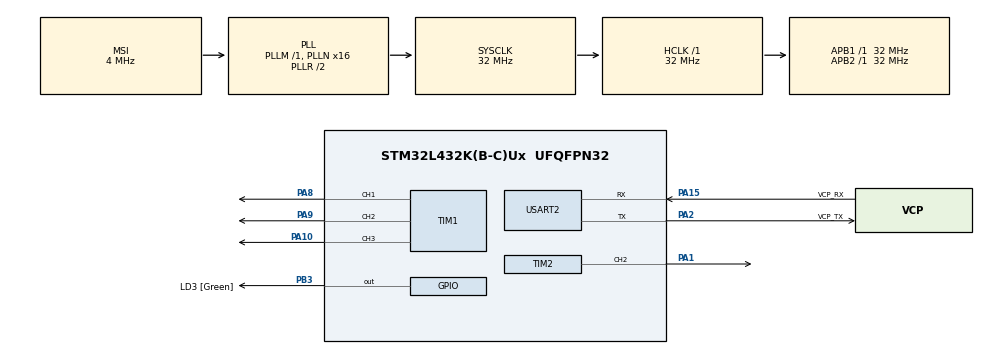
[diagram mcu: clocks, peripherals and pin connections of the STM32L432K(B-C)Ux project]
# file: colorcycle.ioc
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Mcu.Family=STM32L4
Mcu.Name=STM32L432K(B-C)Ux
Mcu.Package=UFQFPN32
NVIC.PriorityGroup=NVIC_PRIORITYGROUP_4
PA0.GPIO_Label=MCO [High speed clock in]
PA0.Mode=HSE-External-Clock-Source-for-LittleOrca
PA0.Signal=RCC_CK_IN
PA1.Signal=S_TIM2_CH2
PA10.Signal=S_TIM1_CH3
PA13\ (JTMS-SWDIO).GPIO_Label=SWDIO
PA13\ (JTMS-SWDIO).Mode=Serial_Wire
PA13\ (JTMS-SWDIO).Signal=SYS_JTMS-SWDIO
PA14\ (JTCK-SWCLK).GPIO_Label=SWCLK
PA14\ (JTCK-SWCLK).Mode=Serial_Wire
PA14\ (JTCK-SWCLK).Signal=SYS_JTCK-SWCLK
PA15\ (JTDI).GPIO_Label=VCP_RX
PA15\ (JTDI).Mode=Asynchronous
PA15\ (JTDI).Signal=USART2_RX
PA2.GPIO_Label=VCP_TX
PA2.Mode=Asynchronous
PA2.Signal=USART2_TX
PA8.Signal=S_TIM1_CH1
PA9.Signal=S_TIM1_CH2
PB3\ (JTDO-TRACESWO).GPIO_Label=LD3 [Green]
PB3\ (JTDO-TRACESWO).Signal=GPIO_Output
PC14-OSC32_IN\ (PC14).Mode=LSE-External-Oscillator
PC14-OSC32_IN\ (PC14).Signal=RCC_OSC32_IN
PC15-OSC32_OUT\ (PC15).Mode=LSE-External-Oscillator
PC15-OSC32_OUT\ (PC15).Signal=RCC_OSC32_OUT
ProjectManager.HeapSize=0x200
ProjectManager.StackSize=0x400
ProjectManager.TargetToolchain=Makefile
RCC.AHBFreq_Value=32000000
RCC.APB1Freq_Value=32000000
RCC.APB1TimFreq_Value=32000000
RCC.APB2Freq_Value=32000000
RCC.APB2TimFreq_Value=32000000
RCC.CortexFreq_Value=32000000
RCC.HCLKFreq_Value=32000000
RCC.HSE_VALUE=8000000
RCC.HSI16_VALUE=16000000
RCC.HSI48_VALUE=48000000
RCC.HSI_VALUE=16000000
RCC.MSI_VALUE=4000000
RCC.PLLMUL=RCC_PLLMUL_4
RCC.PLLN=16
RCC.SYSCLKFreq_VALUE=32000000
RCC.SYSCLKSource=RCC_SYSCLKSOURCE_PLLCLK
RCC.VCOOutputFreq_Value=64000000
SH.S_TIM1_CH1.0=TIM1_CH1,PWM Generation1 CH1
SH.S_TIM1_CH2.0=TIM1_CH2,PWM Generation2 CH2
SH.S_TIM1_CH3.0=TIM1_CH3,PWM Generation3 CH3
SH.S_TIM2_CH2.0=TIM2_CH2,PWM Generation2 CH2
TIM1.Channel-PWM\ Generation1\ CH1=TIM_CHANNEL_1
TIM1.Channel-PWM\ Generation2\ CH2=TIM_CHANNEL_2
TIM1.Channel-PWM\ Generation3\ CH3=TIM_CHANNEL_3
TIM1.Pulse-PWM\ Generation1\ CH1=65535
TIM1.Pulse-PWM\ Generation2\ CH2=65535
TIM1.Pulse-PWM\ Generation3\ CH3=65535
TIM2.Channel-PWM\ Generation2\ CH2=TIM_CHANNEL_2
USART2.VirtualMode-Asynchronous=VM_ASYNC
board=NUCLEO-L432KC

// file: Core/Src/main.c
/* USER CODE BEGIN Header */
/**
  ******************************************************************************
  * @file           : main.c
  * @brief          : Main program body
  ******************************************************************************
  * @attention
  *
  * Copyright (c) 2022 STMicroelectronics.
  * All rights reserved.
  *
  * This software is licensed under terms that can be found in the LICENSE file
  * in the root directory of this software component.
  * If no LICENSE file comes with this software, it is provided AS-IS.
  *
  ******************************************************************************
  */
/* USER CODE END Header */
#include "main.h"

TIM_HandleTypeDef htim1;
TIM_HandleTypeDef htim2;

UART_HandleTypeDef huart2;

void SystemClock_Config(void);
static void MX_GPIO_Init(void);
static void MX_USART2_UART_Init(void);
static void MX_TIM2_Init(void);
static void MX_TIM1_Init(void);

/* USER CODE BEGIN 0 */
void set_color(int red, int green, int blue)
{

  htim1.Instance->CCR1 = red * 255;
  htim1.Instance->CCR2 = green * 255;
  htim1.Instance->CCR3 = blue * 255;

}
/* USER CODE END 0 */

int main(void)
{

  /* MCU Configuration--------------------------------------------------------*/

  /* Reset of all peripherals, Initializes the Flash interface and the Systick. */
  HAL_Init();

  /* Configure the system clock */
  SystemClock_Config();

  /* Initialize all configured peripherals */
  MX_GPIO_Init();
  MX_USART2_UART_Init();
  MX_TIM2_Init();
  MX_TIM1_Init();
  /* USER CODE BEGIN 2 */
  HAL_TIM_PWM_Start (&htim1, TIM_CHANNEL_1);
  HAL_TIM_PWM_Start (&htim1, TIM_CHANNEL_2);
  HAL_TIM_PWM_Start (&htim1, TIM_CHANNEL_3);
  /* USER CODE END 2 */

  /* Infinite loop */
  /* USER CODE BEGIN WHILE */
  while (1)
  {
    set_color (255,0,0);   // red
    HAL_Delay (2000);

    set_color (0,255,0);   // green
    HAL_Delay (2000);

    set_color (0,0,255);  // blue
    HAL_Delay (2000);

    set_color (255,0,255);   // magenta
    HAL_Delay (2000);

    set_color (255,255,0);   // yellow
    HAL_Delay (2000);

    set_color (0,255,255);   // cyan
    HAL_Delay (2000);

    set_color (255,127,0);   // orange
    HAL_Delay (2000);

    set_color (127,255,0);   // chartreuse
    HAL_Delay (2000);

    set_color (0,255,127);   // spring green
    HAL_Delay (2000);

    set_color (0,127,255);   // azure
    HAL_Delay (2000);

    set_color (127,0,255);   // violet
    HAL_Delay (2000);

    set_color (255,0,127);   // rose
    HAL_Delay (2000);

    /* USER CODE END WHILE */

  }
}

void SystemClock_Config(void)
{
  RCC_OscInitTypeDef RCC_OscInitStruct = {0};
  RCC_ClkInitTypeDef RCC_ClkInitStruct = {0};

  /** Configure the main internal regulator output voltage
  */
  if (HAL_PWREx_ControlVoltageScaling(PWR_REGULATOR_VOLTAGE_SCALE1) != HAL_OK)
  {
    Error_Handler();
  }

  /** Configure LSE Drive Capability
  */
  HAL_PWR_EnableBkUpAccess();
  __HAL_RCC_LSEDRIVE_CONFIG(RCC_LSEDRIVE_LOW);

  /** Initializes the RCC Oscillators according to the specified parameters
  * in the RCC_OscInitTypeDef structure.
  */
  RCC_OscInitStruct.OscillatorType = RCC_OSCILLATORTYPE_LSE|RCC_OSCILLATORTYPE_MSI;
  RCC_OscInitStruct.LSEState = RCC_LSE_ON;
  RCC_OscInitStruct.MSIState = RCC_MSI_ON;
  RCC_OscInitStruct.MSICalibrationValue = 0;
  RCC_OscInitStruct.MSIClockRange = RCC_MSIRANGE_6;
  RCC_OscInitStruct.PLL.PLLState = RCC_PLL_ON;
  RCC_OscInitStruct.PLL.PLLSource = RCC_PLLSOURCE_MSI;
  RCC_OscInitStruct.PLL.PLLM = 1;
  RCC_OscInitStruct.PLL.PLLN = 16;
  RCC_OscInitStruct.PLL.PLLP = RCC_PLLP_DIV7;
  RCC_OscInitStruct.PLL.PLLQ = RCC_PLLQ_DIV2;
  RCC_OscInitStruct.PLL.PLLR = RCC_PLLR_DIV2;
  if (HAL_RCC_OscConfig(&RCC_OscInitStruct) != HAL_OK)
  {
    Error_Handler();
  }

  /** Initializes the CPU, AHB and APB buses clocks
  */
  RCC_ClkInitStruct.ClockType = RCC_CLOCKTYPE_HCLK|RCC_CLOCKTYPE_SYSCLK
                              |RCC_CLOCKTYPE_PCLK1|RCC_CLOCKTYPE_PCLK2;
  RCC_ClkInitStruct.SYSCLKSource = RCC_SYSCLKSOURCE_PLLCLK;
  RCC_ClkInitStruct.AHBCLKDivider = RCC_SYSCLK_DIV1;
  RCC_ClkInitStruct.APB1CLKDivider = RCC_HCLK_DIV1;
  RCC_ClkInitStruct.APB2CLKDivider = RCC_HCLK_DIV1;

  if (HAL_RCC_ClockConfig(&RCC_ClkInitStruct, FLASH_LATENCY_1) != HAL_OK)
  {
    Error_Handler();
  }

  /** Enable MSI Auto calibration
  */
  HAL_RCCEx_EnableMSIPLLMode();
}

static void MX_TIM1_Init(void)
{

  TIM_MasterConfigTypeDef sMasterConfig = {0};
  TIM_OC_InitTypeDef sConfigOC = {0};
  TIM_BreakDeadTimeConfigTypeDef sBreakDeadTimeConfig = {0};

  htim1.Instance = TIM1;
  htim1.Init.Prescaler = 0;
  htim1.Init.CounterMode = TIM_COUNTERMODE_UP;
  htim1.Init.Period = 65535;
  htim1.Init.ClockDivision = TIM_CLOCKDIVISION_DIV1;
  htim1.Init.RepetitionCounter = 0;
  htim1.Init.AutoReloadPreload = TIM_AUTORELOAD_PRELOAD_DISABLE;
  if (HAL_TIM_PWM_Init(&htim1) != HAL_OK)
  {
    Error_Handler();
  }
  sMasterConfig.MasterOutputTrigger = TIM_TRGO_RESET;
  sMasterConfig.MasterOutputTrigger2 = TIM_TRGO2_RESET;
  sMasterConfig.MasterSlaveMode = TIM_MASTERSLAVEMODE_DISABLE;
  if (HAL_TIMEx_MasterConfigSynchronization(&htim1, &sMasterConfig) != HAL_OK)
  {
    Error_Handler();
  }
  sConfigOC.OCMode = TIM_OCMODE_PWM1;
  sConfigOC.Pulse = 65535;
  sConfigOC.OCPolarity = TIM_OCPOLARITY_HIGH;
  sConfigOC.OCNPolarity = TIM_OCNPOLARITY_HIGH;
  sConfigOC.OCFastMode = TIM_OCFAST_DISABLE;
  sConfigOC.OCIdleState = TIM_OCIDLESTATE_RESET;
  sConfigOC.OCNIdleState = TIM_OCNIDLESTATE_RESET;
  if (HAL_TIM_PWM_ConfigChannel(&htim1, &sConfigOC, TIM_CHANNEL_1) != HAL_OK)
  {
    Error_Handler();
  }
  if (HAL_TIM_PWM_ConfigChannel(&htim1, &sConfigOC, TIM_CHANNEL_2) != HAL_OK)
  {
    Error_Handler();
  }
  if (HAL_TIM_PWM_ConfigChannel(&htim1, &sConfigOC, TIM_CHANNEL_3) != HAL_OK)
  {
    Error_Handler();
  }
  sBreakDeadTimeConfig.OffStateRunMode = TIM_OSSR_DISABLE;
  sBreakDeadTimeConfig.OffStateIDLEMode = TIM_OSSI_DISABLE;
  sBreakDeadTimeConfig.LockLevel = TIM_LOCKLEVEL_OFF;
  sBreakDeadTimeConfig.DeadTime = 0;
  sBreakDeadTimeConfig.BreakState = TIM_BREAK_DISABLE;
  sBreakDeadTimeConfig.BreakPolarity = TIM_BREAKPOLARITY_HIGH;
  sBreakDeadTimeConfig.BreakFilter = 0;
  sBreakDeadTimeConfig.Break2State = TIM_BREAK2_DISABLE;
  sBreakDeadTimeConfig.Break2Polarity = TIM_BREAK2POLARITY_HIGH;
  sBreakDeadTimeConfig.Break2Filter = 0;
  sBreakDeadTimeConfig.AutomaticOutput = TIM_AUTOMATICOUTPUT_DISABLE;
  if (HAL_TIMEx_ConfigBreakDeadTime(&htim1, &sBreakDeadTimeConfig) != HAL_OK)
  {
    Error_Handler();
  }
  HAL_TIM_MspPostInit(&htim1);

}

static void MX_TIM2_Init(void)
{

  TIM_MasterConfigTypeDef sMasterConfig = {0};
  TIM_OC_InitTypeDef sConfigOC = {0};

  htim2.Instance = TIM2;
  htim2.Init.Prescaler = 0;
  htim2.Init.CounterMode = TIM_COUNTERMODE_UP;
  htim2.Init.Period = 4294967295;
  htim2.Init.ClockDivision = TIM_CLOCKDIVISION_DIV1;
  htim2.Init.AutoReloadPreload = TIM_AUTORELOAD_PRELOAD_DISABLE;
  if (HAL_TIM_PWM_Init(&htim2) != HAL_OK)
  {
    Error_Handler();
  }
  sMasterConfig.MasterOutputTrigger = TIM_TRGO_RESET;
  sMasterConfig.MasterSlaveMode = TIM_MASTERSLAVEMODE_DISABLE;
  if (HAL_TIMEx_MasterConfigSynchronization(&htim2, &sMasterConfig) != HAL_OK)
  {
    Error_Handler();
  }
  sConfigOC.OCMode = TIM_OCMODE_PWM1;
  sConfigOC.Pulse = 0;
  sConfigOC.OCPolarity = TIM_OCPOLARITY_HIGH;
  sConfigOC.OCFastMode = TIM_OCFAST_DISABLE;
  if (HAL_TIM_PWM_ConfigChannel(&htim2, &sConfigOC, TIM_CHANNEL_2) != HAL_OK)
  {
    Error_Handler();
  }
  HAL_TIM_MspPostInit(&htim2);

}

static void MX_USART2_UART_Init(void)
{

  huart2.Instance = USART2;
  huart2.Init.BaudRate = 115200;
  huart2.Init.WordLength = UART_WORDLENGTH_8B;
  huart2.Init.StopBits = UART_STOPBITS_1;
  huart2.Init.Parity = UART_PARITY_NONE;
  huart2.Init.Mode = UART_MODE_TX_RX;
  huart2.Init.HwFlowCtl = UART_HWCONTROL_NONE;
  huart2.Init.OverSampling = UART_OVERSAMPLING_16;
  huart2.Init.OneBitSampling = UART_ONE_BIT_SAMPLE_DISABLE;
  huart2.AdvancedInit.AdvFeatureInit = UART_ADVFEATURE_NO_INIT;
  if (HAL_UART_Init(&huart2) != HAL_OK)
  {
    Error_Handler();
  }

}

static void MX_GPIO_Init(void)
{
  GPIO_InitTypeDef GPIO_InitStruct = {0};

  /* GPIO Ports Clock Enable */
  __HAL_RCC_GPIOC_CLK_ENABLE();
  __HAL_RCC_GPIOA_CLK_ENABLE();
  __HAL_RCC_GPIOB_CLK_ENABLE();

  /*Configure GPIO pin Output Level */
  HAL_GPIO_WritePin(LD3_GPIO_Port, LD3_Pin, GPIO_PIN_RESET);

  /*Configure GPIO pin : LD3_Pin */
  GPIO_InitStruct.Pin = LD3_Pin;
  GPIO_InitStruct.Mode = GPIO_MODE_OUTPUT_PP;
  GPIO_InitStruct.Pull = GPIO_NOPULL;
  GPIO_InitStruct.Speed = GPIO_SPEED_FREQ_LOW;
  HAL_GPIO_Init(LD3_GPIO_Port, &GPIO_InitStruct);

}

void Error_Handler(void)
{
  __disable_irq();
  while (1)
  {
  }
}
